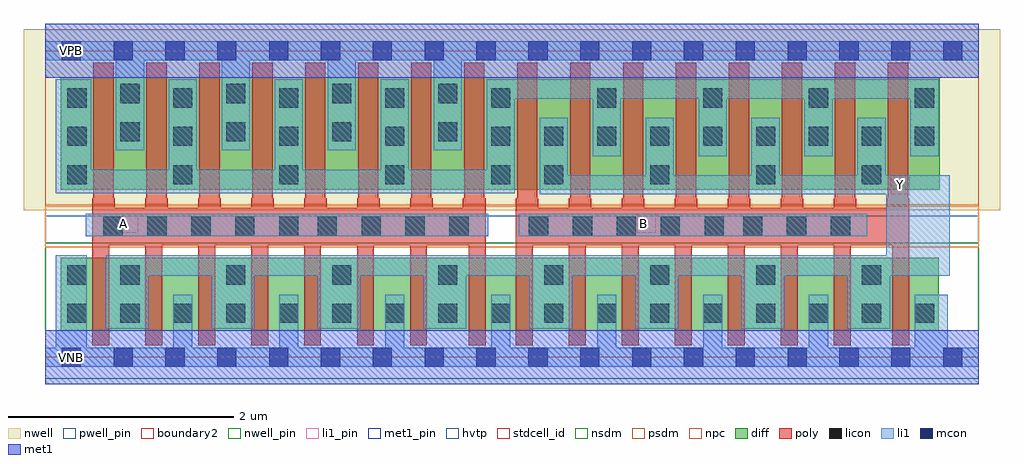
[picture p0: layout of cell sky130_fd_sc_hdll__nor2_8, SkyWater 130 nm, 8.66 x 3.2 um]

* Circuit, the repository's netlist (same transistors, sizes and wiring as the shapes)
* Copyright 2020 The SkyWater PDK Authors
*
* Licensed under the Apache License, Version 2.0 (the "License");
* you may not use this file except in compliance with the License.
* You may obtain a copy of the License at
*
*     https://www.apache.org/licenses/LICENSE-2.0
*
* Unless required by applicable law or agreed to in writing, software
* distributed under the License is distributed on an "AS IS" BASIS,
* WITHOUT WARRANTIES OR CONDITIONS OF ANY KIND, either express or implied.
* See the License for the specific language governing permissions and
* limitations under the License.
*
* SPDX-License-Identifier: Apache-2.0

.SUBCKT sky130_fd_sc_hdll__nor2_8 A B VGND VNB VPB VPWR Y
*.PININFO A:I B:I VGND:I VNB:I VPB:I VPWR:I Y:O
MMP0 VPWR A sndPA VPB sky130_fd_pr__pfet_01v8_hvt m=8 w=1.0U l=0.18U mult=1 sa=0.265
+ sb=0.265 sd=0.28 area=0.063 perim=1.14
MMP1 sndPA B Y VPB sky130_fd_pr__pfet_01v8_hvt m=8 w=1.0U l=0.18U mult=1 sa=0.265
+ sb=0.265 sd=0.28 area=0.063 perim=1.14
MMN0 Y A VGND VNB sky130_fd_pr__nfet_01v8 m=8 w=0.65U l=0.15U mult=1 sa=0.265 sb=0.265
+ sd=0.28 area=0.063 perim=1.14
MMN1 Y B VGND VNB sky130_fd_pr__nfet_01v8 m=8 w=0.65U l=0.15U mult=1 sa=0.265 sb=0.265
+ sd=0.28 area=0.063 perim=1.14
.ENDS sky130_fd_sc_hdll__nor2_8

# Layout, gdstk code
import gdstk
lib = gdstk.Library(unit=1e-6, precision=1e-09)
def R(c, l, rs):  # rectangles x0, y0, x1, y1
    for r in rs: c.add(gdstk.rectangle(r[:2], r[2:], *l))
def A(c, l, x, y, w, h, nx, ny, dx, dy):  # array of equal rectangles
    R(c, l, [(x+i*dx, y+j*dy, x+i*dx+w, y+j*dy+h) for i in range(nx) for j in range(ny)])
def P(c, l, *ps):  # polygons
    for p in ps: c.add(gdstk.Polygon(p, *l))
nwell_pin = (64, 16)
nwell = (64, 20)
diff = (65, 20)
poly = (66, 20)
licon = (66, 44)
li1_pin = (67, 16)
li1 = (67, 20)
mcon = (67, 44)
met1_pin = (68, 16)
met1 = (68, 20)
hvtp = (78, 44)
stdcell_id = (81, 4)
nsdm = (93, 44)
psdm = (94, 20)
npc = (95, 20)
pwell_pin = (122, 16)
boundary2 = (236, 0)

sky130_fd_sc_hdll__nor2_ = lib.new_cell('sky130_fd_sc_hdll__nor2_8')
R(sky130_fd_sc_hdll__nor2_, nwell_pin, [(0.145,2.635,0.315,2.805)])
R(sky130_fd_sc_hdll__nor2_, nwell, [(-0.19,1.305,8.47,2.91)])
R(sky130_fd_sc_hdll__nor2_, diff, [(0.135,0.235,7.925,0.885), (0.135,1.485,7.935,2.485)])
P(sky130_fd_sc_hdll__nor2_, poly, [(3.905,1.41),(3.895,1.41),(3.895,2.615),(3.715,2.615),(3.715,1.41),(3.705,1.41),(3.705,1.325),(3.435,1.325),(3.435,1.41),(3.425,1.41),(3.425,2.615),(3.245,2.615),(3.245,1.41),(3.235,1.41),(3.235,1.325),(2.965,1.325),(2.965,1.41),(2.955,1.41),(2.955,2.615),(2.775,2.615),(2.775,1.41),(2.765,1.41),(2.765,1.325),(2.495,1.325),(2.495,1.41),(2.485,1.41),(2.485,2.615),(2.305,2.615),(2.305,1.41),(2.295,1.41),(2.295,1.325),(2.025,1.325),(2.025,1.41),(2.015,1.41),(2.015,2.615),(1.835,2.615),(1.835,1.41),(1.825,1.41),(1.825,1.325),(1.555,1.325),(1.555,1.41),(1.545,1.41),(1.545,2.615),(1.365,2.615),(1.365,1.41),(1.355,1.41),(1.355,1.325),(1.085,1.325),(1.085,1.41),(1.075,1.41),(1.075,2.615),(0.895,2.615),(0.895,1.41),(0.885,1.41),(0.885,1.325),(0.615,1.325),(0.615,1.41),(0.605,1.41),(0.605,2.615),(0.425,2.615),(0.425,1.41),(0.415,1.41),(0.415,0.105),(0.565,0.105),(0.565,0.995),(0.885,0.995),(0.885,0.105),(1.035,0.105),(1.035,0.995),(1.355,0.995),(1.355,0.105),(1.505,0.105),(1.505,0.995),(1.825,0.995),(1.825,0.105),(1.975,0.105),(1.975,0.995),(2.295,0.995),(2.295,0.105),(2.445,0.105),(2.445,0.995),(2.765,0.995),(2.765,0.105),(2.915,0.105),(2.915,0.995),(3.235,0.995),(3.235,0.105),(3.385,0.105),(3.385,0.995),(3.755,0.995),(3.755,0.105),(3.905,0.105)],
  [(7.665,1.41),(7.655,1.41),(7.655,2.615),(7.475,2.615),(7.475,1.41),(7.465,1.41),(7.465,1.325),(7.195,1.325),(7.195,1.41),(7.185,1.41),(7.185,2.615),(7.005,2.615),(7.005,1.41),(6.995,1.41),(6.995,1.325),(6.725,1.325),(6.725,1.41),(6.715,1.41),(6.715,2.615),(6.535,2.615),(6.535,1.41),(6.525,1.41),(6.525,1.325),(6.255,1.325),(6.255,1.41),(6.245,1.41),(6.245,2.615),(6.065,2.615),(6.065,1.41),(6.055,1.41),(6.055,1.325),(5.785,1.325),(5.785,1.41),(5.775,1.41),(5.775,2.615),(5.595,2.615),(5.595,1.41),(5.585,1.41),(5.585,1.325),(5.315,1.325),(5.315,1.41),(5.305,1.41),(5.305,2.615),(5.125,2.615),(5.125,1.41),(5.115,1.41),(5.115,1.325),(4.845,1.325),(4.845,1.41),(4.835,1.41),(4.835,2.615),(4.655,2.615),(4.655,1.41),(4.645,1.41),(4.645,1.325),(4.375,1.325),(4.375,1.41),(4.365,1.41),(4.365,2.615),(4.185,2.615),(4.185,1.41),(4.175,1.41),(4.175,0.105),(4.325,0.105),(4.325,0.995),(4.645,0.995),(4.645,0.105),(4.795,0.105),(4.795,0.995),(5.115,0.995),(5.115,0.105),(5.265,0.105),(5.265,0.995),(5.585,0.995),(5.585,0.105),(5.735,0.105),(5.735,0.995),(6.055,0.995),(6.055,0.105),(6.205,0.105),(6.205,0.995),(6.525,0.995),(6.525,0.105),(6.675,0.105),(6.675,0.995),(6.995,0.995),(6.995,0.105),(7.145,0.105),(7.145,0.995),(7.515,0.995),(7.515,0.105),(7.665,0.105)])
A(sky130_fd_sc_hdll__nor2_, licon, 0.195, 0.305, 0.17, 0.17, 17, 1, 0.47, 0)
A(sky130_fd_sc_hdll__nor2_, licon, 0.665, 0.645, 0.17, 0.17, 8, 1, 0.94, 0)
A(sky130_fd_sc_hdll__nor2_, licon, 0.515, 1.075, 0.17, 0.17, 5, 1, 0.39, 0)
A(sky130_fd_sc_hdll__nor2_, licon, 2.415, 1.075, 0.17, 0.17, 4, 1, 0.39, 0)
A(sky130_fd_sc_hdll__nor2_, licon, 4.29, 1.075, 0.17, 0.17, 5, 1, 0.39, 0)
A(sky130_fd_sc_hdll__nor2_, licon, 6.19, 1.075, 0.17, 0.17, 3, 1, 0.39, 0)
A(sky130_fd_sc_hdll__nor2_, licon, 0.195, 1.535, 0.17, 0.17, 5, 2, 0.94, 0.34)
A(sky130_fd_sc_hdll__nor2_, licon, 4.425, 1.535, 0.17, 0.17, 4, 1, 0.94, 0)
A(sky130_fd_sc_hdll__nor2_, licon, 4.425, 1.875, 0.17, 0.17, 8, 1, 0.47, 0)
A(sky130_fd_sc_hdll__nor2_, licon, 0.665, 1.915, 0.17, 0.17, 4, 2, 0.94, 0.34)
A(sky130_fd_sc_hdll__nor2_, licon, 0.195, 2.215, 0.17, 0.17, 9, 1, 0.94, 0)
R(sky130_fd_sc_hdll__nor2_, licon, [(0.195,0.645,0.365,0.815)])
R(sky130_fd_sc_hdll__nor2_, li1_pin, [(0.655,1.105,0.825,1.275), (5.245,1.105,5.415,1.275), (7.5,1.445,7.67,1.615)])
R(sky130_fd_sc_hdll__nor2_, li1, [(0.36,1.075,3.93,1.275), (4.2,1.075,7.29,1.275)])
P(sky130_fd_sc_hdll__nor2_, li1, [(8.28,0.085),(8.005,0.085),(8.005,0.555),(7.715,0.555),(7.715,0.085),(6.945,0.085),(6.945,0.555),(6.775,0.555),(6.775,0.085),(6.005,0.085),(6.005,0.555),(5.835,0.555),(5.835,0.085),(5.065,0.085),(5.065,0.555),(4.895,0.555),(4.895,0.085),(4.125,0.085),(4.125,0.555),(3.955,0.555),(3.955,0.085),(3.185,0.085),(3.185,0.555),(3.015,0.555),(3.015,0.085),(2.245,0.085),(2.245,0.555),(2.075,0.555),(2.075,0.085),(1.305,0.085),(1.305,0.555),(1.135,0.555),(1.135,0.085),(0.365,0.085),(0.365,0.905),(0.09,0.905),(0.09,0.085),(0,0.085),(0,-0.085),(8.28,-0.085)],
  [(8.28,2.805),(0,2.805),(0,2.635),(0.625,2.635),(0.625,1.835),(0.875,1.835),(0.875,2.635),(1.565,2.635),(1.565,1.835),(1.815,1.835),(1.815,2.635),(2.505,2.635),(2.505,1.835),(2.755,1.835),(2.755,2.635),(3.445,2.635),(3.445,1.835),(3.695,1.835),(3.695,2.635),(8.28,2.635)],
  [(7.925,2.465),(3.915,2.465),(3.915,1.665),(3.225,1.665),(3.225,2.465),(2.975,2.465),(2.975,1.665),(2.285,1.665),(2.285,2.465),(2.035,2.465),(2.035,1.665),(1.345,1.665),(1.345,2.465),(1.095,2.465),(1.095,1.665),(0.405,1.665),(0.405,2.465),(0.09,2.465),(0.09,1.455),(4.165,1.455),(4.165,2.295),(4.855,2.295),(4.855,1.785),(5.105,1.785),(5.105,2.295),(5.795,2.295),(5.795,1.785),(6.045,1.785),(6.045,2.295),(6.735,2.295),(6.735,1.785),(6.985,1.785),(6.985,2.295),(7.675,2.295),(7.675,1.785),(7.925,1.785)],
  [(8.025,1.615),(7.455,1.615),(7.455,2.125),(7.205,2.125),(7.205,1.615),(6.515,1.615),(6.515,2.125),(6.265,2.125),(6.265,1.615),(5.575,1.615),(5.575,2.125),(5.325,2.125),(5.325,1.615),(4.635,1.615),(4.635,2.125),(4.385,2.125),(4.385,1.445),(7.46,1.445),(7.46,0.905),(0.535,0.905),(0.535,0.255),(0.915,0.255),(0.915,0.725),(1.475,0.725),(1.475,0.255),(1.855,0.255),(1.855,0.725),(2.415,0.725),(2.415,0.255),(2.795,0.255),(2.795,0.725),(3.355,0.725),(3.355,0.255),(3.735,0.255),(3.735,0.725),(4.295,0.725),(4.295,0.255),(4.675,0.255),(4.675,0.725),(5.235,0.725),(5.235,0.255),(5.615,0.255),(5.615,0.725),(6.175,0.725),(6.175,0.255),(6.555,0.255),(6.555,0.725),(7.115,0.725),(7.115,0.255),(7.495,0.255),(7.495,0.725),(8.025,0.725)])
A(sky130_fd_sc_hdll__nor2_, mcon, 0.145, -0.085, 0.17, 0.17, 18, 2, 0.46, 2.72)
R(sky130_fd_sc_hdll__nor2_, met1_pin, [(0.145,-0.085,0.315,0.085), (0.145,2.635,0.315,2.805)])
R(sky130_fd_sc_hdll__nor2_, met1, [(0,-0.24,8.28,0.24), (0,2.48,8.28,2.96)])
R(sky130_fd_sc_hdll__nor2_, hvtp, [(0,1.25,8.28,2.72)])
R(sky130_fd_sc_hdll__nor2_, stdcell_id, [(0,0,8.28,2.72)])
R(sky130_fd_sc_hdll__nor2_, nsdm, [(0,-0.19,8.28,1.015)])
R(sky130_fd_sc_hdll__nor2_, psdm, [(0,1.355,8.28,2.91)])
R(sky130_fd_sc_hdll__nor2_, npc, [(0,0.975,8.28,1.345)])
R(sky130_fd_sc_hdll__nor2_, pwell_pin, [(0.145,-0.085,0.315,0.085)])
R(sky130_fd_sc_hdll__nor2_, boundary2, [(0,0,8.28,2.72)])
sky130_fd_sc_hdll__nor2_.add(gdstk.Label('Y', (7.59,1.53), layer=67, texttype=5))
sky130_fd_sc_hdll__nor2_.add(gdstk.Label('A', (0.69,1.19), layer=67, texttype=5))
sky130_fd_sc_hdll__nor2_.add(gdstk.Label('B', (5.305,1.19), layer=67, texttype=5))
sky130_fd_sc_hdll__nor2_.add(gdstk.Label('VPB', (0.23,2.72), layer=64, texttype=5))
sky130_fd_sc_hdll__nor2_.add(gdstk.Label('VNB', (0.23,0), layer=64, texttype=59))
sky130_fd_sc_hdll__nor2_.add(gdstk.Label('VGND', (0.23,0), layer=68, texttype=5))
sky130_fd_sc_hdll__nor2_.add(gdstk.Label('VPWR', (0.23,2.72), layer=68, texttype=5))
sky130_fd_sc_hdll__nor2_.add(gdstk.Label('nor2_8', (0,0), layer=83, texttype=44))

lib.write_gds('sky130_fd_sc_hdll__nor2_8.gds')
